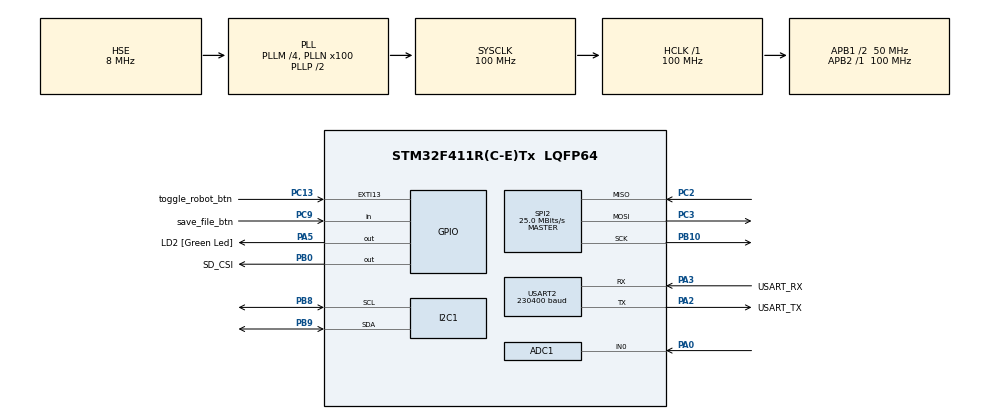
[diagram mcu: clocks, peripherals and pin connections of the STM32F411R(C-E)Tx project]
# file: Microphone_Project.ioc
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ADC1.Channel-2\#ChannelRegularConversion=ADC_CHANNEL_0
ADC1.ContinuousConvMode=DISABLE
ADC1.DMAContinuousRequests=DISABLE
ADC1.ExternalTrigConv=ADC_EXTERNALTRIGCONV_T2_TRGO
ADC1.NbrOfConversionFlag=1
ADC1.Rank-2\#ChannelRegularConversion=1
ADC1.Resolution=ADC_RESOLUTION_12B
ADC1.SamplingTime-2\#ChannelRegularConversion=ADC_SAMPLETIME_3CYCLES
ADC1.master=1
Dma.ADC1.0.Direction=DMA_PERIPH_TO_MEMORY
Dma.ADC1.0.FIFOMode=DMA_FIFOMODE_DISABLE
Dma.ADC1.0.Instance=DMA2_Stream0
Dma.ADC1.0.MemDataAlignment=DMA_MDATAALIGN_HALFWORD
Dma.ADC1.0.MemInc=DMA_MINC_ENABLE
Dma.ADC1.0.Mode=DMA_CIRCULAR
Dma.ADC1.0.PeriphDataAlignment=DMA_PDATAALIGN_HALFWORD
Dma.ADC1.0.PeriphInc=DMA_PINC_DISABLE
Dma.ADC1.0.Priority=DMA_PRIORITY_LOW
Dma.Request0=ADC1
Dma.Request1=USART2_TX
Dma.USART2_TX.1.Direction=DMA_MEMORY_TO_PERIPH
Dma.USART2_TX.1.FIFOMode=DMA_FIFOMODE_DISABLE
Dma.USART2_TX.1.Instance=DMA1_Stream6
Dma.USART2_TX.1.MemDataAlignment=DMA_MDATAALIGN_BYTE
Dma.USART2_TX.1.MemInc=DMA_MINC_ENABLE
Dma.USART2_TX.1.Mode=DMA_CIRCULAR
Dma.USART2_TX.1.PeriphDataAlignment=DMA_PDATAALIGN_BYTE
Dma.USART2_TX.1.PeriphInc=DMA_PINC_DISABLE
Dma.USART2_TX.1.Priority=DMA_PRIORITY_LOW
FATFS._MAX_SS=4096
FATFS._USE_LFN=3
FREERTOS.Tasks01=ProcessInput,24,512,StartProcessInput,Default,NULL,Dynamic,NULL,NULL;saveFile,24,128,StartSaveFile,Default,NULL,Dynamic,NULL,NULL;sendLCD,24,128,StartSendLCD,Default,NULL,Dynamic,NULL,NULL
FREERTOS.configUSE_NEWLIB_REENTRANT=1
Mcu.Family=STM32F4
Mcu.Name=STM32F411R(C-E)Tx
Mcu.Package=LQFP64
NVIC.DMA1_Stream6_IRQn=true\:5\:0\:false\:false\:true\:true\:false\:true\:true
NVIC.DMA2_Stream0_IRQn=true\:5\:0\:true\:false\:true\:true\:false\:true\:true
NVIC.EXTI15_10_IRQn=true\:5\:0\:false\:false\:true\:true\:true\:true\:true
NVIC.PriorityGroup=NVIC_PRIORITYGROUP_4
NVIC.TIM1_BRK_TIM9_IRQn=true\:15\:0\:false\:false\:true\:false\:false\:true\:true
NVIC.TimeBase=TIM1_BRK_TIM9_IRQn
NVIC.TimeBaseIP=TIM9
PA0-WKUP.Signal=ADCx_IN0
PA13.GPIO_Label=TMS
PA13.Mode=Serial_Wire
PA13.Signal=SYS_JTMS-SWDIO
PA14.GPIO_Label=TCK
PA14.Mode=Serial_Wire
PA14.Signal=SYS_JTCK-SWCLK
PA2.GPIO_Label=USART_TX
PA2.Mode=Asynchronous
PA2.Signal=USART2_TX
PA3.GPIO_Label=USART_RX
PA3.Mode=Asynchronous
PA3.Signal=USART2_RX
PA5.GPIO_Label=LD2 [Green Led]
PA5.Signal=GPIO_Output
PB0.GPIO_Label=SD_CSI
PB0.Signal=GPIO_Output
PB10.Mode=Full_Duplex_Master
PB10.Signal=SPI2_SCK
PB3.GPIO_Label=SWO
PB3.Signal=SYS_JTDO-SWO
PB8.Mode=I2C
PB8.Signal=I2C1_SCL
PB9.Mode=I2C
PB9.Signal=I2C1_SDA
PC13-ANTI_TAMP.GPIO_Label=toggle_robot_btn
PC13-ANTI_TAMP.GPIO_ModeDefaultEXTI=GPIO_MODE_IT_FALLING
PC13-ANTI_TAMP.Signal=GPXTI13
PC14-OSC32_IN.Signal=RCC_OSC32_IN
PC15-OSC32_OUT.Signal=RCC_OSC32_OUT
PC2.Mode=Full_Duplex_Master
PC2.Signal=SPI2_MISO
PC3.Mode=Full_Duplex_Master
PC3.Signal=SPI2_MOSI
PC9.GPIO_Label=save_file_btn
PC9.Signal=GPIO_Input
PH0\ -\ OSC_IN.Mode=HSE-External-Oscillator
PH0\ -\ OSC_IN.Signal=RCC_OSC_IN
PH1\ -\ OSC_OUT.Mode=HSE-External-Oscillator
PH1\ -\ OSC_OUT.Signal=RCC_OSC_OUT
ProjectManager.HeapSize=0x200
ProjectManager.StackSize=0x400
ProjectManager.TargetToolchain=STM32CubeIDE
RCC.48MHZClocksFreq_Value=50000000
RCC.AHBFreq_Value=100000000
RCC.APB1CLKDivider=RCC_HCLK_DIV2
RCC.APB1Freq_Value=50000000
RCC.APB1TimFreq_Value=100000000
RCC.APB2Freq_Value=100000000
RCC.APB2TimFreq_Value=100000000
RCC.CortexFreq_Value=100000000
RCC.FLatency-AdvancedSettings=FLASH_LATENCY_3
RCC.HCLKFreq_Value=100000000
RCC.HSE_VALUE=8000000
RCC.HSI_VALUE=16000000
RCC.LSE_VALUE=32768
RCC.PLLM=4
RCC.PLLN=100
RCC.PLLSourceVirtual=RCC_PLLSOURCE_HSE
RCC.SYSCLKFreq_VALUE=100000000
RCC.SYSCLKSource=RCC_SYSCLKSOURCE_PLLCLK
RCC.VCOOutputFreq_Value=200000000
SH.ADCx_IN0.0=ADC1_IN0,IN0
SPI2.BaudRatePrescaler=SPI_BAUDRATEPRESCALER_2
SPI2.CalculateBaudRate=25.0 MBits/s
SPI2.Direction=SPI_DIRECTION_2LINES
SPI2.Mode=SPI_MODE_MASTER
SPI2.VirtualType=VM_MASTER
TIM2.Channel-Output\ Compare1\ CH1=TIM_CHANNEL_1
TIM2.Period=2500-1
TIM2.Prescaler=10-1
TIM2.TIM_MasterOutputTrigger=TIM_TRGO_UPDATE
TIM2.TIM_MasterSlaveMode=TIM_MASTERSLAVEMODE_ENABLE
USART2.BaudRate=230400
USART2.Mode=MODE_TX
USART2.VirtualMode=VM_ASYNC
VP_FATFS_VS_Generic.Mode=User_defined
VP_FREERTOS_VS_CMSIS_V2.Mode=CMSIS_V2
VP_SYS_VS_tim9.Mode=TIM9
VP_TIM2_VS_ClockSourceINT.Mode=Internal
board=NUCLEO-F411RE

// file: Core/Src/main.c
/* USER CODE BEGIN Header */
/**
  ******************************************************************************
  * @file           : main.c
  * @brief          : Main program body
  ******************************************************************************
  * @attention
  *
  * <h2><center>&copy; Copyright (c) 2022 STMicroelectronics.
  * All rights reserved.</center></h2>
  *
  * This software component is licensed by ST under BSD 3-Clause license,
  * the "License"; You may not use this file except in compliance with the
  * License. You may obtain a copy of the License at:
  *                        opensource.org/licenses/BSD-3-Clause
  *
  ******************************************************************************
  */
/* USER CODE END Header */
#include "main.h"
#include "cmsis_os.h"
#include "fatfs.h"

/* USER CODE BEGIN Includes */
#define ARM_MATH_CM4

#include <string.h>
#include <stdio.h>
#include "fatfs_sd.h"
#include "string.h"
#include "i2c-lcd.h"
#include "arm_math.h"
/* USER CODE END Includes */

/* USER CODE BEGIN PD */
#define FILTER_TAP_NUM 30
#define N_BUF_FAST_DELAY 5
#define DELAY_ATT(X) (((X) * 9) / 10)

#define INPUT_PROCESS_BUF_SIZE 512
#define INPUT_BUF_SIZE (INPUT_PROCESS_BUF_SIZE * 2)
#define OUTPUT_PROCESS_BUF_SIZE INPUT_PROCESS_BUF_SIZE
#define OUTPUT_BUF_SIZE INPUT_BUF_SIZE
#define OUTPUT_PROCESS_CHAR_BUF_SIZE (INPUT_PROCESS_BUF_SIZE * 5)
#define OUTPUT_BUF_CHAR_SIZE (OUTPUT_PROCESS_CHAR_BUF_SIZE * 2)

/* USER CODE END PD */

ADC_HandleTypeDef hadc1;
DMA_HandleTypeDef hdma_adc1;

I2C_HandleTypeDef hi2c1;

SPI_HandleTypeDef hspi2;

TIM_HandleTypeDef htim2;

UART_HandleTypeDef huart2;
DMA_HandleTypeDef hdma_usart2_tx;

/* Definitions for ProcessInput */
osThreadId_t ProcessInputHandle;
const osThreadAttr_t ProcessInput_attributes = {
  .name = "ProcessInput",
  .stack_size = 512 * 4,
  .priority = (osPriority_t) osPriorityNormal,
};
/* Definitions for saveFile */
osThreadId_t saveFileHandle;
const osThreadAttr_t saveFile_attributes = {
  .name = "saveFile",
  .stack_size = 128 * 4,
  .priority = (osPriority_t) osPriorityNormal,
};
/* Definitions for sendLCD */
osThreadId_t sendLCDHandle;
const osThreadAttr_t sendLCD_attributes = {
  .name = "sendLCD",
  .stack_size = 128 * 4,
  .priority = (osPriority_t) osPriorityNormal,
};
/* USER CODE BEGIN PV */

/*
FIR filter designed with
http://t-filter.appspot.com

sampling frequency: 48000 Hz
* 0 Hz - 150 Hz
  gain = 0
  desired ripple = -20 dB
  actual ripple = -20.08 dB

* 220 Hz - 2000 Hz
  gain = 1
  desired attenuation = 5 dB
  actual attenuation = 4.14 dB
*/
static float32_t filter_taps_float[FILTER_TAP_NUM] = {
		  0.1196913088823815,
		  0.004347010228791285,
		  0.0010578249672436534,
		  -0.004422105134559838,
		  -0.01193656282028789,
		  -0.020996621559203277,
		  -0.031709398956511294,
		  -0.04297005892678021,
		  -0.054406571927099606,
		  -0.06550117002110387,
		  -0.07560335150390765,
		  -0.0842508638101497,
		  -0.09077684558266322,
		  -0.09481647180425504,
		  0.9037917577572666,
		  -0.09481647180425504,
		  -0.09077684558266322,
		  -0.0842508638101497,
		  -0.07560335150390765,
		  -0.06550117002110387,
		  -0.054406571927099606,
		  -0.04297005892678021,
		  -0.031709398956511294,
		  -0.020996621559203277,
		  -0.01193656282028789,
		  -0.004422105134559838,
		  0.0010578249672436534,
		  0.004347010228791285,
		  0.1,
		  0
};

static q15_t filter_taps_q15[FILTER_TAP_NUM];

/*********** FILE I/O **************/
FATFS fs;  // File System to load
FIL fil; // File input pointer
FRESULT fstatus;  // result
UINT br, bw;  // File read/write count

/**** PONG BUFFERS ******/
q15_t in_buf[INPUT_BUF_SIZE]; // Input buffer for capturing microphone inputs
q15_t out_buf[OUTPUT_BUF_SIZE]; // Output buffer after processing
char out_buf_char[OUTPUT_BUF_CHAR_SIZE]; // Output character buffer for sending in string from via UART and file I/O

// Pointers to buffer's start to currently fill/process
q15_t* in_buf_ptr = &in_buf[0];
q15_t* out_buf_ptr = &out_buf[0];
char* out_buf_char_ptr = &out_buf_char[0];

/********* INTERMEDIATE BUFFERS ************/
static arm_fir_instance_q15 fir_settings;
static q15_t fir_state [INPUT_PROCESS_BUF_SIZE + FILTER_TAP_NUM - 1];

static arm_rfft_instance_q15 fft_settings;
static q15_t fft_input[INPUT_PROCESS_BUF_SIZE];
static q15_t fft_output[INPUT_PROCESS_BUF_SIZE * 2]; //has to be twice FFT size cuz real and imag
static q15_t robot_buf[INPUT_PROCESS_BUF_SIZE];

/********* FLAGS **************/

static uint8_t write_file_chunk_flag = 0; // When pong buffer is full, signal to write to file
static uint8_t robot_effect = 0; // Toggle robot voice in input
static uint8_t sound_activity_detected = 1;
static int8_t fft_counter = 0;
// Sample TX data to send to LCD

static long unsigned int max_fft_freq;

/********* STATUSES **************/
HAL_StatusTypeDef dma_status;
arm_status dsp_status;
/* USER CODE END PV */

void SystemClock_Config(void);
static void MX_GPIO_Init(void);
static void MX_DMA_Init(void);
static void MX_ADC1_Init(void);
static void MX_I2C1_Init(void);
static void MX_SPI2_Init(void);
static void MX_TIM2_Init(void);
static void MX_USART2_UART_Init(void);
void StartProcessInput(void *argument);
void StartSaveFile(void *argument);
void StartSendLCD(void *argument);

/* USER CODE BEGIN PFP */
FRESULT open_append(FIL* fp, const char* path);
/* USER CODE END PFP */

/* USER CODE BEGIN 0 */

void fast_delay() {
	static int16_t bound_check = 0;
	memset(robot_buf, '\0', sizeof(q15_t) * INPUT_PROCESS_BUF_SIZE);
	if (&out_buf[0] == out_buf_ptr) {
		bound_check = OUTPUT_BUF_SIZE;
	} else {
		bound_check = OUTPUT_PROCESS_BUF_SIZE;
	}

	for (int16_t i = 0; i < INPUT_PROCESS_BUF_SIZE; i++) {
		for (int16_t j = 0; j < N_BUF_FAST_DELAY; j++) {
			robot_buf[i] += DELAY_ATT(out_buf[(bound_check + i - j) % OUTPUT_BUF_SIZE]);
		}
	}

//	for (int16_t i = N_BUF_FAST_DELAY; i < INPUT_PROCESS_BUF_SIZE; i++) {
//		// robot_buf[i] = robot_buf[i - 1] + DELAY_ATT(out_buf_ptr[i] - out_buf_ptr[i - N_BUF_FAST_DELAY]);
//		for (int16_t j = 0; j < N_BUF_FAST_DELAY; j++) {
//			robot_buf[i] += DELAY_ATT(out_buf_ptr[i - j]);
//		}
//	}
}

void send_uart(char* string, uint16_t len)
{
	dma_status = HAL_UART_Transmit(&huart2, (uint8_t *) string, len, 2000);
	if (dma_status != HAL_OK) {
		Error_Handler();
	}
}

FRESULT open_append(FIL* fp, /* [OUT] File object to create */
const TCHAR* path /* [IN]  File name to be opened */
) {
	/* Opens an existing file. If not exist, creates a new file. */
	fstatus = f_open(fp, path, FA_OPEN_ALWAYS | FA_WRITE);
	return fstatus;
}

void mount_sd_card() {
	char buffer[128];
	char mount_status_msg[50];
	FATFS *pfs;
	DWORD fre_clust;
	uint32_t total, free_space;

	 /* Mount SD card*/
	fstatus = f_mount(&fs, "/", 1);

	if (fstatus != FR_OK) {
		strcpy(mount_status_msg, "ERROR!!! in mounting SD CARD...\n\n");
	} else {
		strcpy(mount_status_msg, "SD CARD mounted successfully...\n\n");
	}

	send_uart (mount_status_msg, sizeof mount_status_msg);

	/* Check free space and pointer for calculating total size in SD Card */
	f_getfree("/", &fre_clust, &pfs);

	total = (pfs->n_fatent - 2) * pfs -> csize * 0.5;
	sprintf(buffer, "SD card total size:\t%lu\n", total);
	send_uart(buffer, sizeof buffer);
	memset(buffer, '\0', sizeof buffer);

	free_space = fre_clust * pfs -> csize * 0.5;
	sprintf(buffer, "SD card free space:\t%lu\n", free_space);
	send_uart(buffer, sizeof buffer);
	memset(buffer, '\0', sizeof buffer);

}

void process_data() {
	char sample_out_msg[6];
	q15_t max_ampl;

	// 1. Initial HPF
	arm_fir_fast_q15(&fir_settings, in_buf_ptr, out_buf_ptr, INPUT_PROCESS_BUF_SIZE);
	arm_offset_q15(out_buf_ptr, 2000, out_buf_ptr, INPUT_PROCESS_BUF_SIZE);
	// 2. TODO: Correct Robot effect from out_buf_ptr -> robot_buf
	if (robot_effect) {
		fast_delay();
		/*
		for (int i = 0; i < INPUT_PROCESS_BUF_SIZE; i++) {
			robot_buf[i] >>= 2;
		}
		*/
		arm_offset_q15(robot_buf, -7000, robot_buf, OUTPUT_PROCESS_BUF_SIZE);
//		// TODO: (Probably) Generate correct tap for Another HPF, for that change settings? and also try it with fast
		arm_fir_q15(&fir_settings, robot_buf, out_buf_ptr, INPUT_PROCESS_BUF_SIZE);
//		// TODO: (Probably) Change offset?
		arm_offset_q15(out_buf_ptr, 2000, out_buf_ptr, INPUT_PROCESS_BUF_SIZE);
	}

	// 4. Compute FFT and maximum frequency
	// http://gaidi.ca/weblog/configuring-cmsis-dsp-package-and-performing-a-real-fft
	// https://m0agx.eu/2018/05/23/practical-fft-on-microcontrollers-using-cmsis-dsp/
	memcpy(fft_input, out_buf_ptr, sizeof(q15_t) * OUTPUT_PROCESS_BUF_SIZE);
	arm_rfft_q15(&fft_settings, (q15_t* ) fft_input, fft_output);
	for (int i = 0; i < OUTPUT_PROCESS_BUF_SIZE * 2; i++) {
		fft_output[i] <<= 8;
	}
	arm_cmplx_mag_q15(fft_output, fft_output, OUTPUT_PROCESS_BUF_SIZE);
 	arm_max_q15(&fft_output[1], OUTPUT_PROCESS_BUF_SIZE - 1, &max_ampl, &max_fft_freq);

 	// 5. Sound activity detected flag (extension)
	if (max_fft_freq <= 5) {
		if (fft_counter > 20) {
			sound_activity_detected = 0; // TODO: Change
		} else {
			fft_counter++;
		}

	} else {
		if (fft_counter <= 0) {
			sound_activity_detected = 1;
		} else {
			fft_counter-=4;
		}
	}

	for (int i = 0; i < INPUT_PROCESS_BUF_SIZE; i++) {
		// Process 4 digit number as string in processed buffer to send in UART/File
		sprintf (sample_out_msg, "%4.4hd\n", out_buf_ptr[i]);
		strncpy(&out_buf_char_ptr[5*i], sample_out_msg, (sizeof sample_out_msg) - 1);
	}
}

/* USER CODE END 0 */

int main(void)
{

  /* MCU Configuration--------------------------------------------------------*/

  /* Reset of all peripherals, Initializes the Flash interface and the Systick. */
  HAL_Init();

  /* Configure the system clock */
  SystemClock_Config();

  /* Initialize all configured peripherals */
  MX_GPIO_Init();
  MX_DMA_Init();
  MX_ADC1_Init();
  MX_I2C1_Init();
  MX_SPI2_Init();
  MX_TIM2_Init();
  MX_USART2_UART_Init();
  MX_FATFS_Init();
  /* USER CODE BEGIN 2 */

  HAL_TIM_Base_Start(&htim2);
  HAL_ADC_Start_DMA(&hadc1, (uint32_t*) in_buf_ptr, INPUT_BUF_SIZE);

//  arm_float_to_q15(filter_taps_float, filter_taps_q15, FILTER_TAP_NUM);
//  dsp_status = arm_fir_init_q15(&fir_settings, FILTER_TAP_NUM, &filter_taps_q15[0], &fir_state[0], INPUT_PROCESS_BUF_SIZE);
//  dsp_status = arm_rfft_init_q15(&fft_settings, INPUT_PROCESS_BUF_SIZE/*bin count*/, 0/*forward FFT*/, 1/*output bit order is normal*/);

  // Initial check for sd card
  mount_sd_card();

  // Initial operations on LCD
  lcd_init();
  lcd_clear();

  /* USER CODE END 2 */

  /* Init scheduler */
  osKernelInitialize();

  /* Create the thread(s) */
  /* creation of ProcessInput */
  ProcessInputHandle = osThreadNew(StartProcessInput, NULL, &ProcessInput_attributes);

  /* creation of saveFile */
  saveFileHandle = osThreadNew(StartSaveFile, NULL, &saveFile_attributes);

  /* creation of sendLCD */
  sendLCDHandle = osThreadNew(StartSendLCD, NULL, &sendLCD_attributes);

  /* Start scheduler */
  osKernelStart();

  /* We should never get here as control is now taken by the scheduler */

  /* Infinite loop */
  while (1)
  {

  }
}

void SystemClock_Config(void)
{
  RCC_OscInitTypeDef RCC_OscInitStruct = {0};
  RCC_ClkInitTypeDef RCC_ClkInitStruct = {0};

  /** Configure the main internal regulator output voltage
  */
  __HAL_RCC_PWR_CLK_ENABLE();
  __HAL_PWR_VOLTAGESCALING_CONFIG(PWR_REGULATOR_VOLTAGE_SCALE1);

  /** Initializes the RCC Oscillators according to the specified parameters
  * in the RCC_OscInitTypeDef structure.
  */
  RCC_OscInitStruct.OscillatorType = RCC_OSCILLATORTYPE_HSE;
  RCC_OscInitStruct.HSEState = RCC_HSE_ON;
  RCC_OscInitStruct.PLL.PLLState = RCC_PLL_ON;
  RCC_OscInitStruct.PLL.PLLSource = RCC_PLLSOURCE_HSE;
  RCC_OscInitStruct.PLL.PLLM = 4;
  RCC_OscInitStruct.PLL.PLLN = 100;
  RCC_OscInitStruct.PLL.PLLP = RCC_PLLP_DIV2;
  RCC_OscInitStruct.PLL.PLLQ = 4;
  if (HAL_RCC_OscConfig(&RCC_OscInitStruct) != HAL_OK)
  {
    Error_Handler();
  }

  /** Initializes the CPU, AHB and APB buses clocks
  */
  RCC_ClkInitStruct.ClockType = RCC_CLOCKTYPE_HCLK|RCC_CLOCKTYPE_SYSCLK
                              |RCC_CLOCKTYPE_PCLK1|RCC_CLOCKTYPE_PCLK2;
  RCC_ClkInitStruct.SYSCLKSource = RCC_SYSCLKSOURCE_PLLCLK;
  RCC_ClkInitStruct.AHBCLKDivider = RCC_SYSCLK_DIV1;
  RCC_ClkInitStruct.APB1CLKDivider = RCC_HCLK_DIV2;
  RCC_ClkInitStruct.APB2CLKDivider = RCC_HCLK_DIV1;

  if (HAL_RCC_ClockConfig(&RCC_ClkInitStruct, FLASH_LATENCY_3) != HAL_OK)
  {
    Error_Handler();
  }
}

static void MX_ADC1_Init(void)
{

  ADC_ChannelConfTypeDef sConfig = {0};

  /** Configure the global features of the ADC (Clock, Resolution, Data Alignment and number of conversion)
  */
  hadc1.Instance = ADC1;
  hadc1.Init.ClockPrescaler = ADC_CLOCK_SYNC_PCLK_DIV4;
  hadc1.Init.Resolution = ADC_RESOLUTION_12B;
  hadc1.Init.ScanConvMode = DISABLE;
  hadc1.Init.ContinuousConvMode = DISABLE;
  hadc1.Init.DiscontinuousConvMode = DISABLE;
  hadc1.Init.ExternalTrigConvEdge = ADC_EXTERNALTRIGCONVEDGE_RISING;
  hadc1.Init.ExternalTrigConv = ADC_EXTERNALTRIGCONV_T2_TRGO;
  hadc1.Init.DataAlign = ADC_DATAALIGN_RIGHT;
  hadc1.Init.NbrOfConversion = 1;
  hadc1.Init.DMAContinuousRequests = DISABLE;
  hadc1.Init.EOCSelection = ADC_EOC_SINGLE_CONV;
  if (HAL_ADC_Init(&hadc1) != HAL_OK)
  {
    Error_Handler();
  }

  /** Configure for the selected ADC regular channel its corresponding rank in the sequencer and its sample time.
  */
  sConfig.Channel = ADC_CHANNEL_0;
  sConfig.Rank = 1;
  sConfig.SamplingTime = ADC_SAMPLETIME_3CYCLES;
  if (HAL_ADC_ConfigChannel(&hadc1, &sConfig) != HAL_OK)
  {
    Error_Handler();
  }

}

static void MX_I2C1_Init(void)
{

  hi2c1.Instance = I2C1;
  hi2c1.Init.ClockSpeed = 100000;
  hi2c1.Init.DutyCycle = I2C_DUTYCYCLE_2;
  hi2c1.Init.OwnAddress1 = 0;
  hi2c1.Init.AddressingMode = I2C_ADDRESSINGMODE_7BIT;
  hi2c1.Init.DualAddressMode = I2C_DUALADDRESS_DISABLE;
  hi2c1.Init.OwnAddress2 = 0;
  hi2c1.Init.GeneralCallMode = I2C_GENERALCALL_DISABLE;
  hi2c1.Init.NoStretchMode = I2C_NOSTRETCH_DISABLE;
  if (HAL_I2C_Init(&hi2c1) != HAL_OK)
  {
    Error_Handler();
  }

}

static void MX_SPI2_Init(void)
{

  /* SPI2 parameter configuration*/
  hspi2.Instance = SPI2;
  hspi2.Init.Mode = SPI_MODE_MASTER;
  hspi2.Init.Direction = SPI_DIRECTION_2LINES;
  hspi2.Init.DataSize = SPI_DATASIZE_8BIT;
  hspi2.Init.CLKPolarity = SPI_POLARITY_LOW;
  hspi2.Init.CLKPhase = SPI_PHASE_1EDGE;
  hspi2.Init.NSS = SPI_NSS_SOFT;
  hspi2.Init.BaudRatePrescaler = SPI_BAUDRATEPRESCALER_2;
  hspi2.Init.FirstBit = SPI_FIRSTBIT_MSB;
  hspi2.Init.TIMode = SPI_TIMODE_DISABLE;
  hspi2.Init.CRCCalculation = SPI_CRCCALCULATION_DISABLE;
  hspi2.Init.CRCPolynomial = 10;
  if (HAL_SPI_Init(&hspi2) != HAL_OK)
  {
    Error_Handler();
  }

}

static void MX_TIM2_Init(void)
{

  TIM_ClockConfigTypeDef sClockSourceConfig = {0};
  TIM_MasterConfigTypeDef sMasterConfig = {0};

  htim2.Instance = TIM2;
  htim2.Init.Prescaler = 10-1;
  htim2.Init.CounterMode = TIM_COUNTERMODE_UP;
  htim2.Init.Period = 2500-1;
  htim2.Init.ClockDivision = TIM_CLOCKDIVISION_DIV1;
  htim2.Init.AutoReloadPreload = TIM_AUTORELOAD_PRELOAD_DISABLE;
  if (HAL_TIM_Base_Init(&htim2) != HAL_OK)
  {
    Error_Handler();
  }
  sClockSourceConfig.ClockSource = TIM_CLOCKSOURCE_INTERNAL;
  if (HAL_TIM_ConfigClockSource(&htim2, &sClockSourceConfig) != HAL_OK)
  {
    Error_Handler();
  }
  sMasterConfig.MasterOutputTrigger = TIM_TRGO_UPDATE;
  sMasterConfig.MasterSlaveMode = TIM_MASTERSLAVEMODE_ENABLE;
  if (HAL_TIMEx_MasterConfigSynchronization(&htim2, &sMasterConfig) != HAL_OK)
  {
    Error_Handler();
  }

}

static void MX_USART2_UART_Init(void)
{

  huart2.Instance = USART2;
  huart2.Init.BaudRate = 230400;
  huart2.Init.WordLength = UART_WORDLENGTH_8B;
  huart2.Init.StopBits = UART_STOPBITS_1;
  huart2.Init.Parity = UART_PARITY_NONE;
  huart2.Init.Mode = UART_MODE_TX;
  huart2.Init.HwFlowCtl = UART_HWCONTROL_NONE;
  huart2.Init.OverSampling = UART_OVERSAMPLING_16;
  if (HAL_UART_Init(&huart2) != HAL_OK)
  {
    Error_Handler();
  }

}

static void MX_DMA_Init(void)
{

  /* DMA controller clock enable */
  __HAL_RCC_DMA2_CLK_ENABLE();
  __HAL_RCC_DMA1_CLK_ENABLE();

  /* DMA interrupt init */
  /* DMA1_Stream6_IRQn interrupt configuration */
  HAL_NVIC_SetPriority(DMA1_Stream6_IRQn, 5, 0);
  HAL_NVIC_EnableIRQ(DMA1_Stream6_IRQn);
  /* DMA2_Stream0_IRQn interrupt configuration */
  HAL_NVIC_SetPriority(DMA2_Stream0_IRQn, 5, 0);
  HAL_NVIC_EnableIRQ(DMA2_Stream0_IRQn);

}

static void MX_GPIO_Init(void)
{
  GPIO_InitTypeDef GPIO_InitStruct = {0};

  /* GPIO Ports Clock Enable */
  __HAL_RCC_GPIOC_CLK_ENABLE();
  __HAL_RCC_GPIOH_CLK_ENABLE();
  __HAL_RCC_GPIOA_CLK_ENABLE();
  __HAL_RCC_GPIOB_CLK_ENABLE();

  /*Configure GPIO pin Output Level */
  HAL_GPIO_WritePin(LD2_GPIO_Port, LD2_Pin, GPIO_PIN_RESET);

  /*Configure GPIO pin Output Level */
  HAL_GPIO_WritePin(SD_CSI_GPIO_Port, SD_CSI_Pin, GPIO_PIN_RESET);

  /*Configure GPIO pin : toggle_robot_btn_Pin */
  GPIO_InitStruct.Pin = toggle_robot_btn_Pin;
  GPIO_InitStruct.Mode = GPIO_MODE_IT_FALLING;
  GPIO_InitStruct.Pull = GPIO_NOPULL;
  HAL_GPIO_Init(toggle_robot_btn_GPIO_Port, &GPIO_InitStruct);

  /*Configure GPIO pin : LD2_Pin */
  GPIO_InitStruct.Pin = LD2_Pin;
  GPIO_InitStruct.Mode = GPIO_MODE_OUTPUT_PP;
  GPIO_InitStruct.Pull = GPIO_NOPULL;
  GPIO_InitStruct.Speed = GPIO_SPEED_FREQ_LOW;
  HAL_GPIO_Init(LD2_GPIO_Port, &GPIO_InitStruct);

  /*Configure GPIO pin : SD_CSI_Pin */
  GPIO_InitStruct.Pin = SD_CSI_Pin;
  GPIO_InitStruct.Mode = GPIO_MODE_OUTPUT_PP;
  GPIO_InitStruct.Pull = GPIO_NOPULL;
  GPIO_InitStruct.Speed = GPIO_SPEED_FREQ_LOW;
  HAL_GPIO_Init(SD_CSI_GPIO_Port, &GPIO_InitStruct);

  /*Configure GPIO pin : save_file_btn_Pin */
  GPIO_InitStruct.Pin = save_file_btn_Pin;
  GPIO_InitStruct.Mode = GPIO_MODE_INPUT;
  GPIO_InitStruct.Pull = GPIO_NOPULL;
  HAL_GPIO_Init(save_file_btn_GPIO_Port, &GPIO_InitStruct);

  /* EXTI interrupt init*/
  HAL_NVIC_SetPriority(EXTI15_10_IRQn, 5, 0);
  HAL_NVIC_EnableIRQ(EXTI15_10_IRQn);

}

/* USER CODE BEGIN 4 */
void HAL_ADC_ConvHalfCpltCallback(ADC_HandleTypeDef* hadc){
	in_buf_ptr = &in_buf[0];
	out_buf_ptr = &out_buf[OUTPUT_PROCESS_BUF_SIZE];
	out_buf_char_ptr = &out_buf_char[OUTPUT_PROCESS_CHAR_BUF_SIZE];
	write_file_chunk_flag = 1;
}

void HAL_ADC_ConvCpltCallback(ADC_HandleTypeDef* hadc){
	in_buf_ptr = &in_buf[INPUT_PROCESS_BUF_SIZE];
	out_buf_ptr = &out_buf[0];
	out_buf_char_ptr = &out_buf_char[0];
	write_file_chunk_flag = 1;
	HAL_ADC_Start_DMA(&hadc1, (uint32_t*) &in_buf[0], INPUT_BUF_SIZE);
}

void HAL_GPIO_EXTI_Callback(uint16_t GPIO_Pin){
	if (GPIO_Pin == toggle_robot_btn_Pin) {
		robot_effect ^= 1;
	}
}

/* USER CODE END 4 */

void StartProcessInput(void *argument)
{
  /* USER CODE BEGIN 5 */
  /* Infinite loop */
  for(;;)
  {
	  if (write_file_chunk_flag == 1) {
		  process_data();
		  if (sound_activity_detected) {
			  send_uart(out_buf_char_ptr, OUTPUT_PROCESS_CHAR_BUF_SIZE);
		  }
		  write_file_chunk_flag = 2;
	  }
	  osDelay(1);
  }
  /* USER CODE END 5 */
}

void StartSaveFile(void *argument)
{
  /* USER CODE BEGIN StartSaveFile */

	char saved_file_name[32] = "SDcard_save_1.txt";
	int current_file_no = 1;
	fstatus = open_append(&fil,saved_file_name);
  /* Infinite loop */
  for(;;)
  {
	  // Check whether the other half of the buffer has been filled after processing the current chunk
	  if (write_file_chunk_flag == 2) {
		  if (sound_activity_detected) {
			  fstatus = f_write(&fil, out_buf_char_ptr, OUTPUT_PROCESS_CHAR_BUF_SIZE, &bw);
		  }

		  // Check whether a file needs to be closed (can only be done after writing)
		  if (HAL_GPIO_ReadPin (save_file_btn_GPIO_Port, save_file_btn_Pin) == 1) {
			  fstatus = f_close(&fil);

			  lcd_clear();
			  lcd_send_string("Saving file...\n");
			  osDelay(1000);
			  lcd_clear();
			  sprintf(saved_file_name, "SDcard_save_%d.txt", ++current_file_no);
			  fstatus= open_append(&fil,saved_file_name);
		  }
		  write_file_chunk_flag = 0;
	  }
    osDelay(1);
  }
  /* USER CODE END StartSaveFile */
}

void StartSendLCD(void *argument)
{
  /* USER CODE BEGIN StartSendLCD */
	char max_freq_char[21];
  /* Infinite loop */
  for(;;)
  {
	  lcd_clear();
	  if (sound_activity_detected) {
		  	  sprintf(max_freq_char, "Max %4.4lu     R %d", max_fft_freq * 8, robot_effect);
		  	  lcd_send_string(max_freq_char);
	  } else {
		  lcd_send_string("No sound detected!");
	  }
	  osDelay(1000);
	  // osDelay(1);
  }
  /* USER CODE END StartSendLCD */
}

void HAL_TIM_PeriodElapsedCallback(TIM_HandleTypeDef *htim)
{
  if (htim->Instance == TIM9) {
    HAL_IncTick();
  }
}

void Error_Handler(void)
{
  __disable_irq();
  while (1)
  {
  }
}
